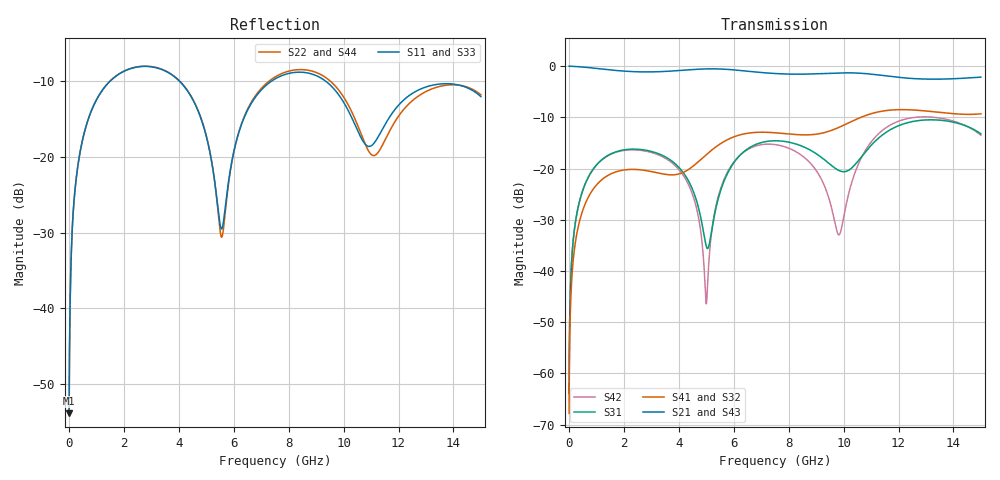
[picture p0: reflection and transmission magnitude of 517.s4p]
! Created with skrf 1.8.0 (http://scikit-rf.org).
# GHz S RI R 50.0
!freq ReS11 ImS11 ReS12 ImS12 ReS13 ImS13
! ReS14 ImS14
! ReS21 ImS21 ReS22 ImS22 ReS23 ImS23
! ReS24 ImS24
! ReS31 ImS31 ReS32 ImS32 ReS33 ImS33
! ReS34 ImS34
! ReS41 ImS41 ReS42 ImS42 ReS43 ImS43
! ReS44 ImS44
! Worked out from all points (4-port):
!   2499 points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, 5 MHz to 15 GHz, reference 50 ohm
!   strongest paths, dB at 5 MHz, 3.476 GHz, 7.19 GHz, 11.1 GHz, 15 GHz:
!     S21: 0.0, -1.0, -1.3, -1.6, -2.2
!     S43: 0.0, -1.0, -1.3, -1.6, -2.1
!     S41: -67.8, -21.1, -12.9, -9.2, -9.3
!     S32: -67.8, -21.1, -13.0, -9.1, -9.4
!     S31: -63.8, -17.6, -14.7, -14.9, -13.2
!     S42: -63.8, -17.9, -15.2, -14.2, -13.5
!   lowest |S11| = -53.8 dB at 5 MHz (marker M1), VSWR 1.00, Z = 50.2 + j0.123 ohm
!   |S11| at or under -10 dB: start of sweep to 1.508 GHz; 4.01 GHz to 7.392 GHz (3.382 GHz wide, 59.3 % of centre); 9.332 GHz to end of sweep
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0.005  0.00162 0.00123  0.9984 -0.00315  8.11e-05 0.000639  -7.88e-05 -0.000401
       0.9984 -0.00315  0.00162 0.00123  -7.88e-05 -0.000401  8.1e-05 0.000639
       8.11e-05 0.000639  -7.88e-05 -0.000401  0.00162 0.00123  0.9984 -0.00315
       -7.88e-05 -0.000401  8.1e-05 0.000639  0.9984 -0.00315  0.00162 0.00123
0.3126303  0.0235 0.081  0.9679 -0.1961  0.0109 0.0379  -0.00892 -0.0236
           0.9679 -0.1961  0.0235 0.081  -0.00892 -0.0236  0.0106 0.038
           0.0109 0.0379  -0.00892 -0.0236  0.0235 0.081  0.9679 -0.196
           -0.00892 -0.0236  0.0106 0.038  0.9679 -0.196  0.0235 0.081
1.469362  0.2494 0.1861  0.5926 -0.7031  0.1208 0.0639  -0.0862 -0.0133
          0.5926 -0.7031  0.2506 0.1855  -0.0861 -0.0133  0.1171 0.0684
          0.1208 0.0639  -0.0861 -0.0133  0.2494 0.1861  0.5926 -0.7031
          -0.0862 -0.0133  0.1171 0.0684  0.5926 -0.7031  0.2506 0.1855
5  0.0698 -0.1172  -0.8664 -0.3622  -0.0156 -0.00786  -0.0484 0.1278
   -0.8664 -0.3622  0.0659 -0.1209  -0.049 0.1275  -0.0046 -0.0013
   -0.0156 -0.00786  -0.049 0.1275  0.0706 -0.1163  -0.8664 -0.3622
   -0.0484 0.1278  -0.0046 -0.0013  -0.8664 -0.3622  0.0646 -0.1208
6.008754  0.0646 0.088  -0.8977 0.1923  0.0539 0.1011  0.0597 0.1952
          -0.8977 0.1923  0.0622 0.0892  0.0588 0.1952  0.0511 0.1045
          0.0539 0.1011  0.0588 0.1952  0.0669 0.0883  -0.8977 0.1923
          0.0597 0.1952  0.0511 0.1045  -0.8977 0.1923  0.0602 0.0902
8.6411  0.3565 -0.0302  0.0269 0.8351  0.109 -0.1151  0.2046 -0.0595
        0.0269 0.8351  0.3702 -0.0468  0.2043 -0.0569  0.1104 -0.0556
        0.109 -0.1151  0.2043 -0.0569  0.3573 -0.0341  0.0263 0.8349
        0.2046 -0.0595  0.1104 -0.0556  0.0263 0.8349  0.3705 -0.0427
15  0.2103 -0.1331  -0.2304 -0.7456  0.1618 -0.1461  -0.2975 0.1695
    -0.2304 -0.7456  0.2118 -0.1434  -0.2989 0.1633  0.165 -0.1321
    0.1618 -0.1461  -0.2989 0.1633  0.2055 -0.1343  -0.2295 -0.7476
    -0.2975 0.1695  0.165 -0.1321  -0.2295 -0.7476  0.2056 -0.1376
